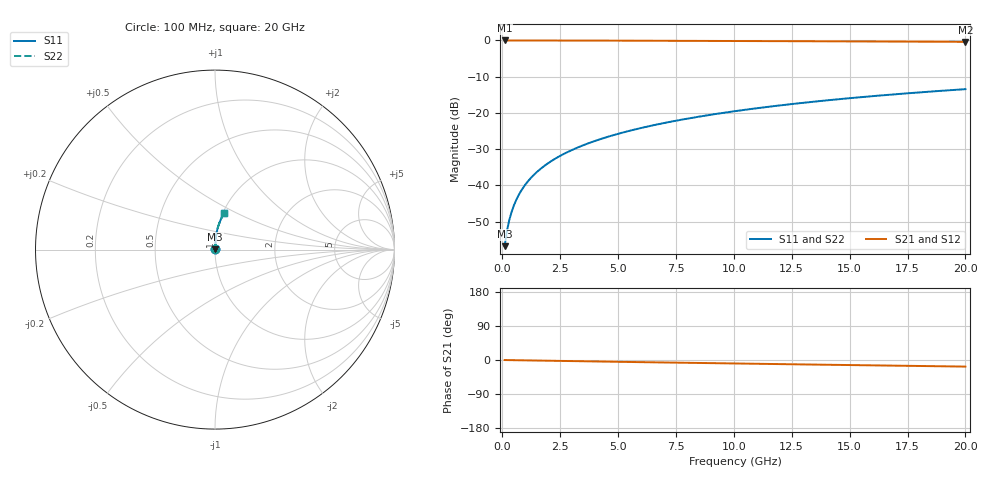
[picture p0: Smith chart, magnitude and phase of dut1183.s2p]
! Touchstone file exported from HFSS 2024.1.0
!  File:  C:/UserFiles/LocalFiles/RDL_TSV_Batchsim/temp_RDL_bottom_1183_1780057356.aedt
!  Generated:  08:25:11 PM May 29, 2026
!  Design:  RDL_bottom
!  Project:  temp_RDL_bottom_1183_1780057356
!  Setup:  Setup1
!  Solution:  Sweep
! Variables:
!  dtsv = 10.80580581um
!  hbump = 3um
!  htsv = 85.76um
!  ldown = 195.4um
!  lrdl = 100um
!  p = 40
!  p1 = 53.47um
!  rhole = 1um
!  t = 450um
!  tdown = 4.84um
!  trdl = 3.915915916um
!  wdown = 16.79um
!  wrdl = 20um
# GHz S MA R 50.000000
! Terminal data exported
! Port[1] = RDL1_T1
! Port[2] = RDL1_T2
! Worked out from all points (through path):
!   200 points, 100 MHz to 20 GHz, reference 50 ohm
!   highest |S21| = -0.01 dB at 100 MHz (marker M1); lowest = -0.4 dB at 20 GHz (marker M2)
!   group delay of S21, straight-line fit = 2.4 ps
!   lowest |S11| = -56.8 dB at 100 MHz (marker M3), VSWR 1.00, Z = 50.1 + j0.107 ohm
!   |S11| at or under -10 dB: start of sweep to end of sweep
!   |S22| runs from -56.8 to -13.4 dB; largest |S21 - S12| = 5e-15
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0.1  0.001452 47.3  0.999 -0.1  0.999 -0.1  0.001452 47.3
! Gamma 0 0 0 0
! Port Impedance 50 0 50 0
0.2  0.002345 64.2  0.999 -0.2  0.999 -0.2  0.002345 64.2
0.3  0.00331 71.4  0.9989 -0.3  0.9989 -0.3  0.00331 71.4
0.4  0.004292 75.4  0.9989 -0.4  0.9989 -0.4  0.004292 75.4
0.5  0.005282 77.9  0.9988 -0.5  0.9988 -0.5  0.005282 77.9
0.7  0.007281 81.0  0.9987 -0.7  0.9987 -0.7  0.007281 81.0
0.8  0.008286 82.0  0.9987 -0.8  0.9987 -0.8  0.008286 82.0
1  0.0103 83.4  0.9986 -1.0  0.9986 -1.0  0.0103 83.4
1.2  0.01233 84.3  0.9985 -1.2  0.9985 -1.2  0.01233 84.3
1.4  0.01436 84.9  0.9983 -1.4  0.9983 -1.4  0.01436 84.9
1.7  0.01741 85.6  0.9981 -1.7  0.9981 -1.7  0.01741 85.6
2  0.02047 86.0  0.9978 -1.9  0.9978 -1.9  0.02047 86.0
2.7  0.02763 86.5  0.997 -2.6  0.997 -2.6  0.02763 86.5
3.5  0.03586 86.7  0.9958 -3.4  0.9958 -3.4  0.03586 86.7
4.2  0.04312 86.7  0.9946 -4.0  0.9946 -4.0  0.04312 86.7
5  0.05147 86.6  0.9931 -4.8  0.9931 -4.8  0.05147 86.6
6.8  0.07055 85.9  0.9894 -6.4  0.9894 -6.4  0.07055 85.9
8.3  0.08672 85.1  0.986 -7.7  0.986 -7.7  0.08671 85.1
10.1  0.1063 83.9  0.9818 -9.3  0.9818 -9.3  0.1063 83.9
13.4  0.1424 81.3  0.9738 -12.0  0.9738 -12.0  0.1424 81.3
16.7  0.178 78.5  0.9652 -14.7  0.9652 -14.7  0.178 78.5
20  0.2127 75.7  0.9561 -17.4  0.9561 -17.4  0.2127 75.6
